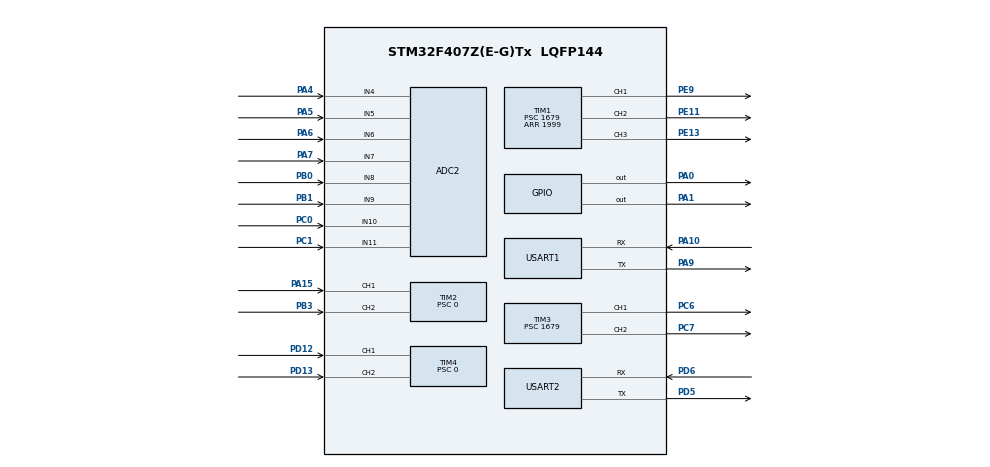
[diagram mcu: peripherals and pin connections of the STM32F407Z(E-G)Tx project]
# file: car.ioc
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ADC2.Channel-0\#ChannelRegularConversion=ADC_CHANNEL_4
ADC2.Channel-1\#ChannelRegularConversion=ADC_CHANNEL_5
ADC2.Channel-2\#ChannelRegularConversion=ADC_CHANNEL_6
ADC2.Channel-3\#ChannelRegularConversion=ADC_CHANNEL_7
ADC2.Channel-4\#ChannelRegularConversion=ADC_CHANNEL_8
ADC2.Channel-5\#ChannelRegularConversion=ADC_CHANNEL_9
ADC2.Channel-6\#ChannelRegularConversion=ADC_CHANNEL_10
ADC2.Channel-7\#ChannelRegularConversion=ADC_CHANNEL_11
ADC2.ClockPrescaler=ADC_CLOCK_SYNC_PCLK_DIV4
ADC2.ContinuousConvMode=ENABLE
ADC2.DMAContinuousRequests=ENABLE
ADC2.InjNumberOfConversion=0
ADC2.NbrOfConversion=8
ADC2.NbrOfConversionFlag=1
ADC2.Rank-0\#ChannelRegularConversion=1
ADC2.Rank-1\#ChannelRegularConversion=2
ADC2.Rank-2\#ChannelRegularConversion=3
ADC2.Rank-3\#ChannelRegularConversion=4
ADC2.Rank-4\#ChannelRegularConversion=5
ADC2.Rank-5\#ChannelRegularConversion=6
ADC2.Rank-6\#ChannelRegularConversion=7
ADC2.Rank-7\#ChannelRegularConversion=8
ADC2.SamplingTime-0\#ChannelRegularConversion=ADC_SAMPLETIME_15CYCLES
ADC2.SamplingTime-1\#ChannelRegularConversion=ADC_SAMPLETIME_15CYCLES
ADC2.SamplingTime-2\#ChannelRegularConversion=ADC_SAMPLETIME_15CYCLES
ADC2.SamplingTime-3\#ChannelRegularConversion=ADC_SAMPLETIME_15CYCLES
ADC2.SamplingTime-4\#ChannelRegularConversion=ADC_SAMPLETIME_15CYCLES
ADC2.SamplingTime-5\#ChannelRegularConversion=ADC_SAMPLETIME_15CYCLES
ADC2.SamplingTime-6\#ChannelRegularConversion=ADC_SAMPLETIME_15CYCLES
ADC2.SamplingTime-7\#ChannelRegularConversion=ADC_SAMPLETIME_15CYCLES
ADC2.ScanConvMode=ENABLE
Dma.ADC2.0.Direction=DMA_PERIPH_TO_MEMORY
Dma.ADC2.0.FIFOMode=DMA_FIFOMODE_DISABLE
Dma.ADC2.0.Instance=DMA2_Stream2
Dma.ADC2.0.MemDataAlignment=DMA_MDATAALIGN_WORD
Dma.ADC2.0.MemInc=DMA_MINC_ENABLE
Dma.ADC2.0.Mode=DMA_CIRCULAR
Dma.ADC2.0.PeriphDataAlignment=DMA_PDATAALIGN_WORD
Dma.ADC2.0.PeriphInc=DMA_PINC_DISABLE
Dma.ADC2.0.Priority=DMA_PRIORITY_LOW
Dma.Request0=ADC2
Mcu.Family=STM32F4
Mcu.Name=STM32F407Z(E-G)Tx
Mcu.Package=LQFP144
NVIC.DMA2_Stream2_IRQn=true\:0\:0\:false\:false\:true\:false\:true\:true
NVIC.PriorityGroup=NVIC_PRIORITYGROUP_4
NVIC.USART2_IRQn=true\:0\:0\:false\:false\:true\:true\:true\:true
PA0-WKUP.PinState=GPIO_PIN_SET
PA0-WKUP.Signal=GPIO_Output
PA1.PinState=GPIO_PIN_SET
PA1.Signal=GPIO_Output
PA10.Mode=Asynchronous
PA10.Signal=USART1_RX
PA13.Mode=Serial_Wire
PA13.Signal=SYS_JTMS-SWDIO
PA14.Mode=Serial_Wire
PA14.Signal=SYS_JTCK-SWCLK
PA15.Signal=S_TIM2_CH1_ETR
PA4.Signal=ADCx_IN4
PA5.Signal=ADCx_IN5
PA6.Signal=ADCx_IN6
PA7.Signal=ADCx_IN7
PA9.Mode=Asynchronous
PA9.Signal=USART1_TX
PB0.Signal=ADCx_IN8
PB1.Signal=ADCx_IN9
PB3.Signal=S_TIM2_CH2
PC0.Signal=ADCx_IN10
PC1.Signal=ADCx_IN11
PC6.Signal=S_TIM3_CH1
PC7.Signal=S_TIM3_CH2
PD12.Signal=S_TIM4_CH1
PD13.Signal=S_TIM4_CH2
PD5.Mode=Asynchronous
PD5.Signal=USART2_TX
PD6.Mode=Asynchronous
PD6.Signal=USART2_RX
PE11.Signal=S_TIM1_CH2
PE13.Signal=S_TIM1_CH3
PE9.Signal=S_TIM1_CH1
PH0-OSC_IN.Mode=HSE-External-Oscillator
PH0-OSC_IN.Signal=RCC_OSC_IN
PH1-OSC_OUT.Mode=HSE-External-Oscillator
PH1-OSC_OUT.Signal=RCC_OSC_OUT
ProjectManager.HeapSize=0x200
ProjectManager.StackSize=0x400
ProjectManager.TargetToolchain=STM32CubeIDE
RCC.48MHZClocksFreq_Value=84000000
RCC.AHBFreq_Value=168000000
RCC.APB1CLKDivider=RCC_HCLK_DIV4
RCC.APB1Freq_Value=42000000
RCC.APB1TimFreq_Value=84000000
RCC.APB2CLKDivider=RCC_HCLK_DIV2
RCC.APB2Freq_Value=84000000
RCC.APB2TimFreq_Value=168000000
RCC.CortexFreq_Value=168000000
RCC.HCLKFreq_Value=168000000
RCC.HSE_VALUE=8000000
RCC.HSI_VALUE=16000000
RCC.LSE_VALUE=32768
RCC.PLLM=4
RCC.PLLN=168
RCC.PLLSourceVirtual=RCC_PLLSOURCE_HSE
RCC.SYSCLKFreq_VALUE=168000000
RCC.SYSCLKSource=RCC_SYSCLKSOURCE_PLLCLK
RCC.VCOOutputFreq_Value=336000000
SH.ADCx_IN10.0=ADC2_IN10,IN10
SH.ADCx_IN11.0=ADC2_IN11,IN11
SH.ADCx_IN4.0=ADC2_IN4,IN4
SH.ADCx_IN5.0=ADC2_IN5,IN5
SH.ADCx_IN6.0=ADC2_IN6,IN6
SH.ADCx_IN7.0=ADC2_IN7,IN7
SH.ADCx_IN8.0=ADC2_IN8,IN8
SH.ADCx_IN9.0=ADC2_IN9,IN9
SH.S_TIM1_CH1.0=TIM1_CH1,PWM Generation1 CH1
SH.S_TIM1_CH2.0=TIM1_CH2,PWM Generation2 CH2
SH.S_TIM1_CH3.0=TIM1_CH3,PWM Generation3 CH3
SH.S_TIM2_CH1_ETR.0=TIM2_CH1,Input_Capture1_from_TI1
SH.S_TIM2_CH2.0=TIM2_CH2,Input_Capture2_from_TI2
SH.S_TIM3_CH1.0=TIM3_CH1,PWM Generation1 CH1
SH.S_TIM3_CH2.0=TIM3_CH2,PWM Generation2 CH2
SH.S_TIM4_CH1.0=TIM4_CH1,Input_Capture1_from_TI1
SH.S_TIM4_CH2.0=TIM4_CH2,Input_Capture2_from_TI2
TIM1.Channel-PWM\ Generation1\ CH1=TIM_CHANNEL_1
TIM1.Channel-PWM\ Generation2\ CH2=TIM_CHANNEL_2
TIM1.Channel-PWM\ Generation3\ CH3=TIM_CHANNEL_3
TIM1.Period=1999
TIM1.Prescaler=1679
TIM2.Channel-Input_Capture1_from_TI1=TIM_CHANNEL_1
TIM2.Channel-Input_Capture2_from_TI2=TIM_CHANNEL_2
TIM2.Period=65535
TIM2.Prescaler=0
TIM3.Channel-PWM\ Generation1\ CH1=TIM_CHANNEL_1
TIM3.Channel-PWM\ Generation2\ CH2=TIM_CHANNEL_2
TIM3.Period=1999
TIM3.Prescaler=1679
TIM4.Channel-Input_Capture1_from_TI1=TIM_CHANNEL_1
TIM4.Channel-Input_Capture2_from_TI2=TIM_CHANNEL_2
TIM4.Prescaler=0
USART1.VirtualMode=VM_ASYNC
USART2.VirtualMode=VM_ASYNC
board=custom

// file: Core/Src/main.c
/* USER CODE BEGIN Header */
/**
  ******************************************************************************
  * @file           : main.c
  * @brief          : Main program body
  ******************************************************************************
  * @attention
  *
  * Copyright (c) 2025 STMicroelectronics.
  * All rights reserved.
  *
  * This software is licensed under terms that can be found in the LICENSE file
  * in the root directory of this software component.
  * If no LICENSE file comes with this software, it is provided AS-IS.
  *
  ******************************************************************************
  */
/* USER CODE END Header */
#include "main.h"
#include "adc.h"
#include "dma.h"
#include "tim.h"
#include "usart.h"
#include "gpio.h"

/* USER CODE BEGIN Includes */
#include "servo.h"
#include "encoder.h"
#include "motor.h"
#include "action.h"
#include "track.h"
#include "comm.h"
#include "string.h"
#include "stdio.h"

/* USER CODE END Includes */

/* USER CODE BEGIN PV */
uint32_t sys_tick = 0;
uint32_t Track_count =0;
uint32_t adc_date[8]={0};
extern uint8_t rx_buf[50];
extern uint8_t rx_len;
/* USER CODE END PV */

void SystemClock_Config(void);

int main(void)
{

  /* MCU Configuration--------------------------------------------------------*/

  /* Reset of all peripherals, Initializes the Flash interface and the Systick. */
  HAL_Init();

  /* Configure the system clock */
  SystemClock_Config();

  /* Initialize all configured peripherals */
  MX_GPIO_Init();
  MX_DMA_Init();
  MX_ADC2_Init();
  MX_TIM2_Init();
  MX_TIM3_Init();
  MX_USART1_UART_Init();
  MX_USART2_UART_Init();
  MX_TIM1_Init();
  MX_TIM4_Init();
  /* USER CODE BEGIN 2 */
  Encoder_Init();
  Servo_Init();
  HAL_ADC_Start_DMA(&hadc2, adc_date, 8);
  HAL_UART_Receive_IT(&huart2, &rx_buf[rx_len], 1);
  HAL_TIM_Encoder_Start(&htim3, TIM_CHANNEL_ALL);
  static uint8_t track_tick = 0;

  Track_Control(300);

  /* USER CODE END 2 */

  /* Infinite loop */
  /* USER CODE BEGIN WHILE */
  /* Infinite loop */
  /* USER CODE BEGIN WHILE */
  while (1)
  {
    /* USER CODE END WHILE */

    /* USER CODE BEGIN 3 */
    // 6.1 10ms定时任务（核心控制周期）
    if (sys_tick == 40) {
      Encoder_CalcSpeed(); // 计算电机实时转速

      // 循迹处理（每40ms执行一次）
      if (track_tick >= 4) { // 40ms = 4 * 10ms
        Track_UpdateData(adc_date);
        Track_CalcError();

        // ===== 检测是否为十字路口 =====
        if (Track_IsCross()) {
          Car_Control(0, 0);   // 停止小车
          HAL_Delay(500);      // 停止0.5秒（可调）
        }
        // =============================

        Track_Control(200);    // 设置基础速度，比如200rpm
        track_tick = 0;
      }

      track_tick++;
      Motor_PIDCalc();         // 执行PID算法，计算PWM输出
      Motor_UpdatePWM();       // 更新电机PWM，控制转速
      sys_tick = 0;

    }
    /* USER CODE END 3 */
    // main函数尾部循环结束
        HAL_Delay(1);
        sys_tick++;
        Track_count++;
    } // main函数结束
}
    /*/* USER CODE BEGIN 4 */
void HAL_UART_RxCpltCallback(UART_HandleTypeDef *huart) {
  if (huart->Instance == USART2) {  // 使用USART2与树莓派通信
    Comm_RxCallback(rx_buf[rx_len]);
    // 重新开启接收中断
    HAL_UART_Receive_IT(&huart2, &rx_buf[rx_len], 1);
  }
}

// 也可以添加错误处理
void HAL_UART_ErrorCallback(UART_HandleTypeDef *huart) {
  if (huart->Instance == USART2) {
    // 重新启动接收
    HAL_UART_Receive_IT(&huart2, &rx_buf[rx_len], 1);
  }
}
    /**
      * @brief System Clock Configuration
      * @retval None
      */
    void SystemClock_Config(void)
    {
        RCC_OscInitTypeDef RCC_OscInitStruct = {0};
        RCC_ClkInitTypeDef RCC_ClkInitStruct = {0};

        /* 配置主内部稳压器输出电压 */
        __HAL_RCC_PWR_CLK_ENABLE();
        __HAL_PWR_VOLTAGESCALING_CONFIG(PWR_REGULATOR_VOLTAGE_SCALE1);

        /* 初始化 RCC 振荡器 */
        RCC_OscInitStruct.OscillatorType = RCC_OSCILLATORTYPE_HSE;
        RCC_OscInitStruct.HSEState = RCC_HSE_ON;
        RCC_OscInitStruct.PLL.PLLState = RCC_PLL_ON;
        RCC_OscInitStruct.PLL.PLLSource = RCC_PLLSOURCE_HSE;
        RCC_OscInitStruct.PLL.PLLM = 4;
        RCC_OscInitStruct.PLL.PLLN = 168;
        RCC_OscInitStruct.PLL.PLLP = RCC_PLLP_DIV2;
        RCC_OscInitStruct.PLL.PLLQ = 4;
        if (HAL_RCC_OscConfig(&RCC_OscInitStruct) != HAL_OK)
        {
            Error_Handler();
        }

        /* 初始化 CPU、AHB 和 APB 总线时钟 */
        RCC_ClkInitStruct.ClockType = RCC_CLOCKTYPE_HCLK | RCC_CLOCKTYPE_SYSCLK
                                    | RCC_CLOCKTYPE_PCLK1 | RCC_CLOCKTYPE_PCLK2;
        RCC_ClkInitStruct.SYSCLKSource = RCC_SYSCLKSOURCE_PLLCLK;
        RCC_ClkInitStruct.AHBCLKDivider = RCC_SYSCLK_DIV1;
        RCC_ClkInitStruct.APB1CLKDivider = RCC_HCLK_DIV4;
        RCC_ClkInitStruct.APB2CLKDivider = RCC_HCLK_DIV2;
        if (HAL_RCC_ClockConfig(&RCC_ClkInitStruct, FLASH_LATENCY_5) != HAL_OK)
        {
            Error_Handler();
        }
    }

    /**
      * @brief  错误处理函数
      * @retval None
      */
  void Error_Handler(void)
    {
        /* 禁用中断，进入死循环 */
        __disable_irq();
        while (1)
        {
        }
   }

    #ifdef USE_FULL_ASSERT
    /**
      * @brief  报告断言失败信息
      * @param  file: 发生断言的源文件
      * @param  line: 断言所在行号
      * @retval None
      */
    void assert_failed(uint8_t *file, uint32_t line)
    {
        /* 用户可以添加打印调试信息，例如：
           printf("Wrong parameters value: file %s on line %d\r\n", file, line); */
    }
    #endif /* USE_FULL_ASSERT */
